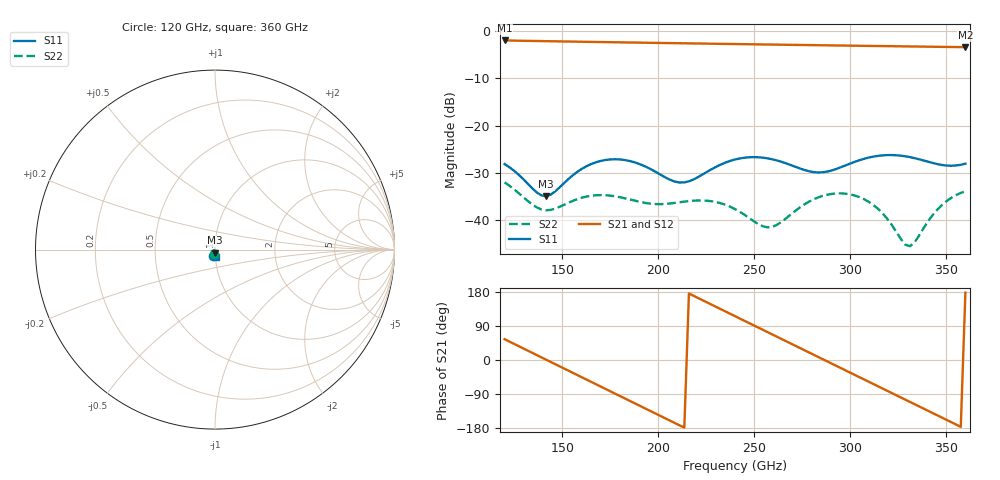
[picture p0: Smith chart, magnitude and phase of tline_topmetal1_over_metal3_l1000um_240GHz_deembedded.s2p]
! Created with skrf 2.0.1 (http://scikit-rf.org).
# GHz S DB R 50.0
!freq dBS11 angS11 dBS21 angS21 dBS12 angS12 dBS22 angS22
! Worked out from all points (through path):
!   101 points, 120 GHz to 360 GHz, reference 50 ohm
!   highest |S21| = -2.08 dB at 120 GHz (marker M1); lowest = -3.5 dB at 360 GHz (marker M2)
!   group delay of S21, straight-line fit = 6.91 ps
!   lowest |S11| = -34.9 dB at 141.6 GHz (marker M3), VSWR 1.04, Z = 50.1 - j1.8 ohm
!   |S11| at or under -10 dB: start of sweep to end of sweep
!   |S22| runs from -45.4 to -32.0 dB; largest |S21 - S12| = 8.7e-14
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120  -28.13 -106.6  -2.08 54.9  -2.08 54.9  -31.98 -103.4
132  -32.24 -111.6  -2.17 24.9  -2.17 24.9  -35.86 -106.0
141.6  -34.89 -86.5  -2.23 0.9  -2.23 0.9  -37.86 -89.3
151.2  -32.04 -64.3  -2.30 -23.0  -2.30 -23.0  -36.66 -76.0
160.8  -28.99 -67.1  -2.36 -47.0  -2.36 -47.0  -35.15 -77.7
170.4  -27.43 -78.5  -2.42 -70.9  -2.42 -70.9  -34.66 -85.4
180  -27.15 -91.3  -2.48 -94.9  -2.48 -94.9  -35.10 -92.7
189.6  -28.02 -102.2  -2.54 -118.8  -2.54 -118.8  -36.01 -95.7
201.6  -30.45 -105.8  -2.61 -148.7  -2.61 -148.7  -36.57 -93.3
211.2  -32.01 -93.1  -2.67 -172.6  -2.67 -172.6  -36.17 -93.3
220.8  -30.86 -77.6  -2.73 163.5  -2.73 163.5  -35.80 -98.8
240  -27.17 -82.2  -2.84 115.7  -2.84 115.7  -37.60 -115.1
249.6  -26.67 -91.7  -2.89 91.8  -2.89 91.8  -40.11 -113.4
259.2  -27.10 -100.2  -2.95 68.0  -2.95 68.0  -41.37 -93.1
271.2  -28.66 -104.1  -3.02 38.2  -3.02 38.2  -38.04 -78.4
280.8  -29.81 -97.4  -3.07 14.3  -3.07 14.3  -35.59 -86.3
300  -28.02 -82.4  -3.17 -33.4  -3.17 -33.4  -34.52 -118.3
312  -26.56 -87.1  -3.24 -63.2  -3.24 -63.2  -36.72 -138.5
321.6  -26.23 -94.0  -3.29 -87.0  -3.29 -87.0  -40.91 -145.4
331.2  -26.67 -99.7  -3.35 -110.8  -3.35 -110.8  -45.42 -108.9
345.6  -28.15 -98.7  -3.42 -146.6  -3.42 -146.6  -37.63 -82.9
360  -28.04 -85.7  -3.50 177.7  -3.50 177.7  -33.86 -109.7
